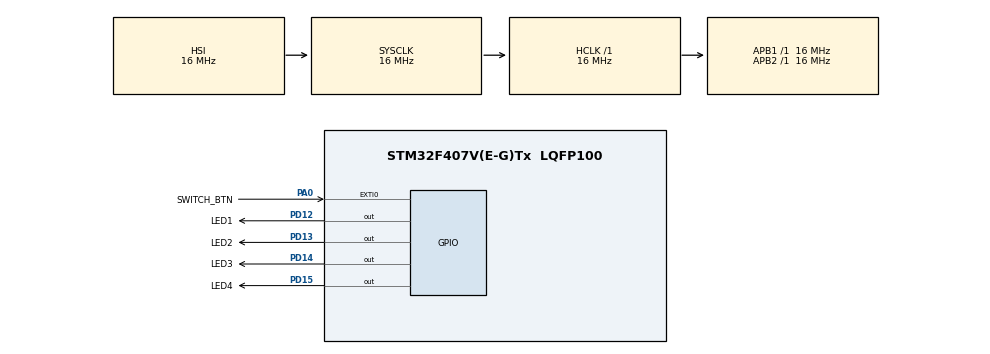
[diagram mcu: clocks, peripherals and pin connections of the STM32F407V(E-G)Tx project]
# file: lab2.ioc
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Mcu.Family=STM32F4
Mcu.Name=STM32F407V(E-G)Tx
Mcu.Package=LQFP100
NVIC.EXTI0_IRQn=true\:0\:0\:false\:false\:true\:true\:true\:true
NVIC.PriorityGroup=NVIC_PRIORITYGROUP_4
PA0-WKUP.GPIO_Label=SWITCH_BTN
PA0-WKUP.Signal=GPXTI0
PD12.GPIO_Label=LED1
PD12.Signal=GPIO_Output
PD13.GPIO_Label=LED2
PD13.Signal=GPIO_Output
PD14.GPIO_Label=LED3
PD14.Signal=GPIO_Output
PD15.GPIO_Label=LED4
PD15.Signal=GPIO_Output
ProjectManager.HeapSize=0x200
ProjectManager.StackSize=0x400
ProjectManager.TargetToolchain=STM32CubeIDE
RCC.AHBFreq_Value=16000000
RCC.APB1Freq_Value=16000000
RCC.APB2Freq_Value=16000000
RCC.CortexFreq_Value=16000000
RCC.HSE_VALUE=25000000
RCC.HSI_VALUE=16000000
RCC.LSE_VALUE=32768
RCC.SYSCLKFreq_VALUE=16000000
RCC.VCOOutputFreq_Value=192000000
board=custom

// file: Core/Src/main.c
/* USER CODE BEGIN Header */
/**
  ******************************************************************************
  * @file           : main.c
  * @brief          : Main program body
  ******************************************************************************
  * @attention
  *
  * Copyright (c) 2023 STMicroelectronics.
  * All rights reserved.
  *
  * This software is licensed under terms that can be found in the LICENSE file
  * in the root directory of this software component.
  * If no LICENSE file comes with this software, it is provided AS-IS.
  *
  ******************************************************************************
  */
/* USER CODE END Header */
#include "main.h"

void SystemClock_Config(void);
static void MX_GPIO_Init(void);

/* USER CODE BEGIN 0 */

unsigned int ledIdx = 0;

struct ledDef {
	GPIO_TypeDef *port;
	uint16_t pin;
};

/* USER CODE END 0 */

int main(void)
{

  /* MCU Configuration--------------------------------------------------------*/

  /* Reset of all peripherals, Initializes the Flash interface and the Systick. */
  HAL_Init();

  /* Configure the system clock */
  SystemClock_Config();

  /* Initialize all configured peripherals */
  MX_GPIO_Init();
  /* USER CODE BEGIN 2 */

  struct ledDef leds[] = {
    { LED1_GPIO_Port, LED1_Pin },
    { LED2_GPIO_Port, LED2_Pin },
    { LED3_GPIO_Port, LED3_Pin },
    { LED4_GPIO_Port, LED4_Pin },
  };

  /* USER CODE END 2 */

  /* Infinite loop */
  /* USER CODE BEGIN WHILE */
  while (1)
  {
    struct ledDef l = leds[ledIdx];

    HAL_GPIO_WritePin(l.port, l.pin, GPIO_PIN_SET);
    HAL_Delay(500);
    HAL_GPIO_WritePin(l.port, l.pin, GPIO_PIN_RESET);
    HAL_Delay(500);

    /* USER CODE END WHILE */

  }
}

void SystemClock_Config(void)
{
  RCC_OscInitTypeDef RCC_OscInitStruct = {0};
  RCC_ClkInitTypeDef RCC_ClkInitStruct = {0};

  /** Configure the main internal regulator output voltage
  */
  __HAL_RCC_PWR_CLK_ENABLE();
  __HAL_PWR_VOLTAGESCALING_CONFIG(PWR_REGULATOR_VOLTAGE_SCALE1);

  /** Initializes the RCC Oscillators according to the specified parameters
  * in the RCC_OscInitTypeDef structure.
  */
  RCC_OscInitStruct.OscillatorType = RCC_OSCILLATORTYPE_HSI;
  RCC_OscInitStruct.HSIState = RCC_HSI_ON;
  RCC_OscInitStruct.HSICalibrationValue = RCC_HSICALIBRATION_DEFAULT;
  RCC_OscInitStruct.PLL.PLLState = RCC_PLL_NONE;
  if (HAL_RCC_OscConfig(&RCC_OscInitStruct) != HAL_OK)
  {
    Error_Handler();
  }

  /** Initializes the CPU, AHB and APB buses clocks
  */
  RCC_ClkInitStruct.ClockType = RCC_CLOCKTYPE_HCLK|RCC_CLOCKTYPE_SYSCLK
                              |RCC_CLOCKTYPE_PCLK1|RCC_CLOCKTYPE_PCLK2;
  RCC_ClkInitStruct.SYSCLKSource = RCC_SYSCLKSOURCE_HSI;
  RCC_ClkInitStruct.AHBCLKDivider = RCC_SYSCLK_DIV1;
  RCC_ClkInitStruct.APB1CLKDivider = RCC_HCLK_DIV1;
  RCC_ClkInitStruct.APB2CLKDivider = RCC_HCLK_DIV1;

  if (HAL_RCC_ClockConfig(&RCC_ClkInitStruct, FLASH_LATENCY_0) != HAL_OK)
  {
    Error_Handler();
  }
}

static void MX_GPIO_Init(void)
{
  GPIO_InitTypeDef GPIO_InitStruct = {0};

  /* GPIO Ports Clock Enable */
  __HAL_RCC_GPIOA_CLK_ENABLE();
  __HAL_RCC_GPIOD_CLK_ENABLE();

  /*Configure GPIO pin Output Level */
  HAL_GPIO_WritePin(GPIOD, LED1_Pin|LED2_Pin|LED3_Pin|LED4_Pin, GPIO_PIN_RESET);

  /*Configure GPIO pin : SWITCH_BTN_Pin */
  GPIO_InitStruct.Pin = SWITCH_BTN_Pin;
  GPIO_InitStruct.Mode = GPIO_MODE_IT_RISING;
  GPIO_InitStruct.Pull = GPIO_NOPULL;
  HAL_GPIO_Init(SWITCH_BTN_GPIO_Port, &GPIO_InitStruct);

  /*Configure GPIO pins : LED1_Pin LED2_Pin LED3_Pin LED4_Pin */
  GPIO_InitStruct.Pin = LED1_Pin|LED2_Pin|LED3_Pin|LED4_Pin;
  GPIO_InitStruct.Mode = GPIO_MODE_OUTPUT_PP;
  GPIO_InitStruct.Pull = GPIO_NOPULL;
  GPIO_InitStruct.Speed = GPIO_SPEED_FREQ_LOW;
  HAL_GPIO_Init(GPIOD, &GPIO_InitStruct);

  /* EXTI interrupt init*/
  HAL_NVIC_SetPriority(EXTI0_IRQn, 0, 0);
  HAL_NVIC_EnableIRQ(EXTI0_IRQn);

}

void Error_Handler(void)
{
  __disable_irq();
  while (1)
  {
  }
}
